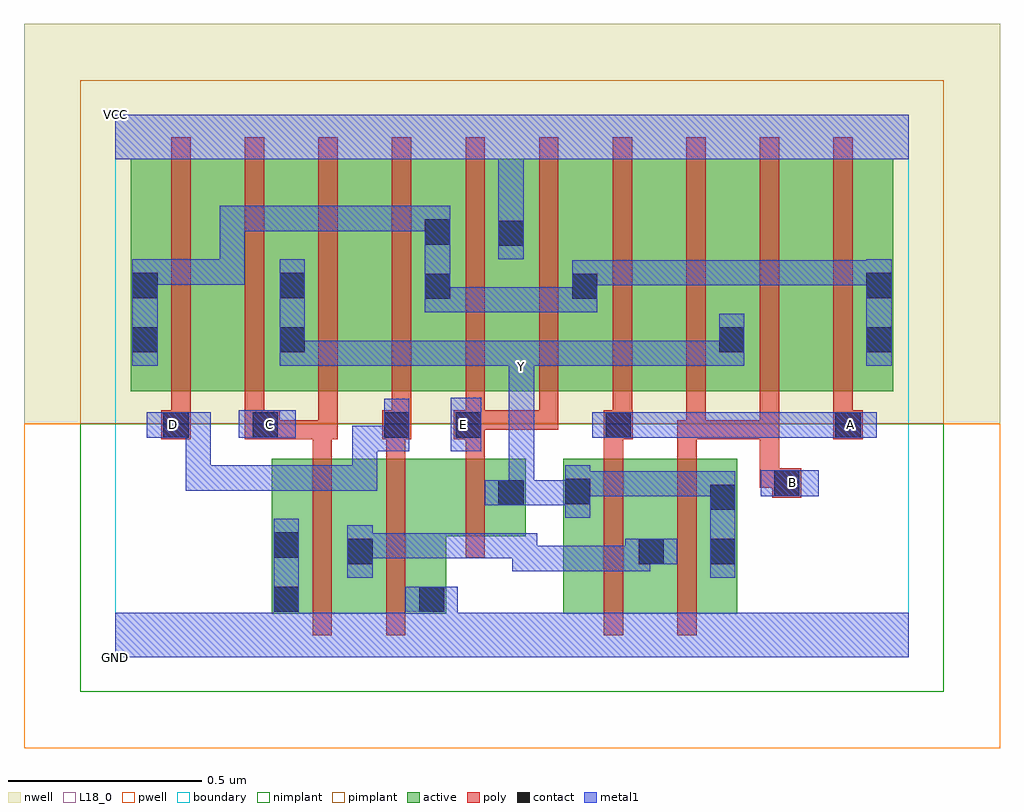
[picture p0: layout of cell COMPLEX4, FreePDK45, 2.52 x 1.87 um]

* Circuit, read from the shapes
.subckt COMPLEX4 A B C D E GND VCC Y
M1 n1 C GND VSUBS nfet w=0.4u l=0.05u
M2 GND D n1 VSUBS nfet w=0.4u l=0.05u
M3 Y E GND VSUBS nfet w=0.2u l=0.05u
M4 n1 A Y VSUBS nfet w=0.4u l=0.05u
M5 Y B n1 VSUBS nfet w=0.4u l=0.05u
M6 n2 D n3 n4 pfet w=0.6u l=0.05u
M7 Y C n2 n4 pfet w=0.6u l=0.05u
M8 n5 C Y n4 pfet w=0.6u l=0.05u
M9 n3 D n5 n4 pfet w=0.6u l=0.05u
M10 VCC E n3 n4 pfet w=0.6u l=0.05u m=2
M11 n6 A n3 n4 pfet w=0.6u l=0.05u
M12 Y B n6 n4 pfet w=0.6u l=0.05u
M13 n7 B Y n4 pfet w=0.6u l=0.05u
M14 n3 A n7 n4 pfet w=0.6u l=0.05u
.ends

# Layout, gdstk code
import gdstk
lib = gdstk.Library(unit=1e-6, precision=1e-09)
def R(c, l, rs):  # rectangles x0, y0, x1, y1
    for r in rs: c.add(gdstk.rectangle(r[:2], r[2:], *l))
def A(c, l, x, y, w, h, nx, ny, dx, dy):  # array of equal rectangles
    R(c, l, [(x+i*dx, y+j*dy, x+i*dx+w, y+j*dy+h) for i in range(nx) for j in range(ny)])
active = (1, 0)
pwell = (2, 0)
nwell = (3, 0)
nimplant = (4, 0)
pimplant = (5, 0)
poly = (9, 0)
contact = (10, 0)
metal1 = (11, 0)
L18_0 = (18, 0)
boundary = (235, 0)

complex4 = lib.new_cell('COMPLEX4')
R(complex4, active, [(0.405,0.112,0.67,0.512), (0.405,0.112,0.48,0.512), (0.595,0.112,0.855,0.512), (0.78,0.112,0.855,0.405), (1.157,0.112,1.422,0.512), (1.347,0.112,1.607,0.512), (0.595,0.147,0.67,0.492), (1.157,0.147,1.232,0.512), (1.347,0.147,1.422,0.492), (1.532,0.147,1.607,0.512), (0.78,0.312,1.06,0.512), (0.985,0.332,1.06,0.512), (0.04,0.687,0.265,1.287), (0.04,0.687,0.145,1.2), (0.265,0.687,0.495,1.287), (0.42,0.687,0.645,1.287), (0.42,0.687,0.495,1.07), (0.645,0.687,0.87,1.287), (0.795,0.687,1.06,1.287), (0.985,0.687,1.25,1.287), (1.175,0.687,1.405,1.287), (1.405,0.687,1.63,1.287), (1.555,0.687,1.785,1.287), (1.555,0.687,1.63,1.07), (1.785,0.687,2.01,1.287), (1.935,0.687,2.01,1.2), (0.795,0.707,0.87,1.2), (0.985,0.707,1.06,1.287), (1.175,0.707,1.25,1.2)])
R(complex4, pwell, [(-0.235,-0.235,2.285,0.602)])
R(complex4, nwell, [(-0.235,0.602,2.285,1.635)])
R(complex4, nimplant, [(-0.09,-0.09,2.14,0.602)])
R(complex4, pimplant, [(-0.09,0.602,2.14,1.49)])
A(complex4, poly, 0.715, 0.587, 0.05, 0.095, 4, 1, 0.19, 0)
A(complex4, poly, 0.145, 0.632, 0.05, 0.71, 10, 1, 0.19, 0)
R(complex4, poly, [(0.51,0.057,0.56,0.567), (0.7,0.057,0.75,0.567), (1.262,0.057,1.312,0.567), (1.452,0.057,1.502,0.567), (0.905,0.257,0.955,0.567), (1.697,0.412,1.772,0.487), (1.665,0.437,1.715,0.612), (1.665,0.437,1.747,0.487), (1.697,0.437,1.747,0.487), (0.51,0.517,0.56,0.612), (0.7,0.517,0.75,0.612), (0.905,0.517,0.955,0.612), (1.262,0.517,1.312,0.612), (1.452,0.517,1.502,0.612), (0.12,0.562,0.195,0.637), (0.335,0.562,0.425,0.637), (0.375,0.562,0.56,0.612), (0.51,0.562,0.56,0.612), (0.51,0.562,0.56,0.612), (0.51,0.562,0.575,0.612), (0.525,0.562,0.575,0.682), (0.69,0.562,0.765,0.637), (0.875,0.562,0.955,0.637), (1.262,0.562,1.337,0.637), (1.452,0.562,1.525,0.612), (1.475,0.562,1.525,0.682), (1.475,0.562,1.715,0.612), (1.665,0.562,1.715,0.682), (1.665,0.562,1.715,0.612), (1.665,0.562,1.715,0.612), (1.665,0.562,1.715,0.612), (1.855,0.562,1.93,0.637), (0.145,0.587,0.195,0.682), (0.335,0.587,0.385,0.682), (0.905,0.587,1.145,0.637), (1.095,0.587,1.145,0.637), (1.095,0.587,1.145,0.637), (1.095,0.587,1.145,0.637), (1.855,0.587,1.905,0.682)])
R(complex4, contact, [(0.41,0.117,0.475,0.182), (0.785,0.117,0.85,0.182), (0.6,0.24,0.665,0.305), (1.352,0.24,1.417,0.305), (1.537,0.24,1.602,0.305), (0.41,0.257,0.475,0.322), (1.537,0.38,1.602,0.445), (0.99,0.392,1.055,0.457), (1.162,0.395,1.227,0.46), (1.702,0.417,1.767,0.482), (0.125,0.567,0.19,0.632), (0.355,0.567,0.42,0.632), (0.695,0.567,0.76,0.632), (0.88,0.567,0.945,0.632), (1.267,0.567,1.332,0.632), (1.86,0.567,1.925,0.632), (0.045,0.787,0.11,0.852), (0.425,0.787,0.49,0.852), (1.56,0.787,1.625,0.852), (1.94,0.787,2.005,0.852), (0.8,0.925,0.865,0.99), (1.18,0.925,1.245,0.99), (0.045,0.927,0.11,0.992), (0.425,0.927,0.49,0.992), (1.94,0.927,2.005,0.992), (0.99,1.062,1.055,1.127), (0.8,1.065,0.865,1.13)])
R(complex4, metal1, [(0,0,2.05,0.115), (0.41,0.05,0.475,0.147), (0.82,0.05,0.885,0.182), (0.41,0.082,0.475,0.357), (0.75,0.117,0.885,0.182), (0.6,0.205,0.665,0.34), (1.537,0.205,1.602,0.48), (1.025,0.222,1.09,0.287), (1.025,0.222,1.09,0.287), (1.025,0.222,1.227,0.287), (1.025,0.222,1.09,0.32), (1.162,0.222,1.227,0.287), (1.162,0.222,1.382,0.287), (1.317,0.222,1.382,0.305), (1.317,0.24,1.382,0.305), (1.317,0.24,1.452,0.305), (0.6,0.255,0.665,0.32), (0.6,0.255,0.665,0.32), (0.6,0.255,0.815,0.32), (0.75,0.255,0.815,0.32), (0.75,0.255,0.897,0.32), (0.832,0.255,0.897,0.32), (0.832,0.255,1.09,0.32), (1.162,0.36,1.227,0.495), (0.955,0.392,1.09,0.457), (1.017,0.392,1.082,0.747), (1.025,0.392,1.09,0.457), (1.025,0.392,1.09,0.457), (1.025,0.392,1.227,0.457), (1.162,0.415,1.227,0.48), (1.162,0.415,1.227,0.48), (1.162,0.415,1.382,0.48), (1.317,0.415,1.382,0.48), (1.317,0.415,1.592,0.48), (1.527,0.415,1.592,0.48), (1.527,0.415,1.602,0.48), (1.667,0.415,1.817,0.482), (0.182,0.43,0.247,0.495), (0.182,0.43,0.362,0.495), (0.182,0.43,0.247,0.632), (0.297,0.43,0.5,0.495), (0.297,0.43,0.362,0.495), (0.435,0.43,0.5,0.495), (0.435,0.43,0.5,0.495), (0.435,0.43,0.5,0.495), (0.435,0.43,0.677,0.495), (0.612,0.43,0.677,0.495), (0.612,0.43,0.677,0.597), (0.612,0.532,0.677,0.597), (0.612,0.532,0.76,0.597), (0.695,0.532,0.76,0.667), (0.867,0.532,0.945,0.67), (0.082,0.567,0.225,0.632), (0.16,0.567,0.247,0.632), (0.182,0.567,0.247,0.632), (0.32,0.567,0.467,0.637), (1.232,0.567,1.367,0.632), (1.302,0.567,1.455,0.632), (1.39,0.567,1.455,0.632), (1.39,0.567,1.592,0.632), (1.527,0.567,1.73,0.632), (1.527,0.567,1.592,0.632), (1.527,0.567,1.592,0.632), (1.527,0.567,1.592,0.632), (1.665,0.567,1.73,0.632), (1.665,0.567,1.73,0.632), (1.665,0.567,1.73,0.632), (1.665,0.567,1.89,0.632), (1.825,0.567,1.967,0.632), (1.017,0.682,1.082,0.817), (0.045,0.752,0.11,1.027), (0.425,0.752,0.49,1.027), (0.425,0.752,0.5,0.817), (0.435,0.752,0.5,0.817), (0.435,0.752,0.677,0.817), (0.612,0.752,0.815,0.817), (0.612,0.752,0.677,0.817), (0.612,0.752,0.677,0.817), (0.612,0.752,0.677,0.817), (0.75,0.752,0.815,0.817), (0.75,0.752,0.815,0.817), (0.75,0.752,0.815,0.817), (0.75,0.752,1.082,0.817), (1.017,0.752,1.082,0.817), (1.017,0.752,1.082,0.817), (1.017,0.752,1.082,0.817), (1.017,0.752,1.082,0.817), (1.017,0.752,1.245,0.817), (1.18,0.752,1.245,0.817), (1.18,0.752,1.382,0.817), (1.317,0.752,1.52,0.817), (1.317,0.752,1.382,0.817), (1.317,0.752,1.382,0.817), (1.317,0.752,1.382,0.817), (1.455,0.752,1.52,0.817), (1.455,0.752,1.625,0.817), (1.56,0.752,1.625,0.887), (1.94,0.752,2.005,1.027), (0.8,0.89,0.865,1.165), (0.8,0.89,0.865,0.955), (0.8,0.89,0.865,0.955), (0.8,0.89,1.09,0.955), (1.025,0.89,1.09,0.955), (1.025,0.89,1.09,0.955), (1.025,0.89,1.09,0.955), (1.025,0.89,1.245,0.955), (1.18,0.89,1.245,1.025), (1.18,0.96,1.245,1.025), (1.18,0.96,1.245,1.025), (1.18,0.96,1.455,1.025), (1.39,0.96,1.455,1.025), (1.39,0.96,1.592,1.025), (1.527,0.96,1.73,1.025), (1.527,0.96,1.592,1.025), (1.527,0.96,1.592,1.025), (1.527,0.96,1.592,1.025), (1.665,0.96,1.73,1.025), (1.665,0.96,1.867,1.025), (1.802,0.96,2.005,1.025), (1.802,0.96,1.867,1.025), (1.802,0.96,1.867,1.025), (1.802,0.96,1.867,1.025), (1.802,0.96,1.867,1.025), (1.802,0.96,1.867,1.025), (0.045,0.962,0.11,1.027), (0.045,0.962,0.11,1.027), (0.045,0.962,0.335,1.027), (0.27,0.962,0.335,1.027), (0.27,0.962,0.335,1.165), (0.99,1.027,1.055,1.162), (0.99,1.097,1.055,1.35), (0.27,1.1,0.335,1.165), (0.27,1.1,0.362,1.165), (0.297,1.1,0.5,1.165), (0.297,1.1,0.362,1.165), (0.435,1.1,0.5,1.165), (0.435,1.1,0.5,1.165), (0.435,1.1,0.5,1.165), (0.435,1.1,0.637,1.165), (0.572,1.1,0.637,1.165), (0.572,1.1,0.637,1.165), (0.572,1.1,0.637,1.165), (0.572,1.1,0.865,1.165), (0,1.285,2.05,1.4)])
R(complex4, L18_0, [(0,0,2.05,0.115), (0.41,0.05,0.475,0.147), (0.82,0.05,0.885,0.182), (0.41,0.082,0.475,0.357), (0.75,0.117,0.885,0.182), (1.537,0.205,1.602,0.48), (1.162,0.36,1.227,0.495), (0.955,0.392,1.09,0.457), (1.017,0.392,1.082,0.747), (1.025,0.392,1.09,0.457), (1.025,0.392,1.09,0.457), (1.025,0.392,1.227,0.457), (1.162,0.415,1.227,0.48), (1.162,0.415,1.227,0.48), (1.162,0.415,1.382,0.48), (1.317,0.415,1.382,0.48), (1.317,0.415,1.592,0.48), (1.527,0.415,1.592,0.48), (1.527,0.415,1.602,0.48), (1.667,0.415,1.817,0.482), (1.717,0.417,1.782,0.482), (0.182,0.43,0.247,0.495), (0.182,0.43,0.247,0.632), (0.182,0.43,0.362,0.495), (0.297,0.43,0.362,0.495), (0.297,0.43,0.5,0.495), (0.435,0.43,0.5,0.495), (0.435,0.43,0.5,0.495), (0.435,0.43,0.5,0.495), (0.435,0.43,0.677,0.495), (0.612,0.43,0.677,0.495), (0.612,0.43,0.677,0.597), (0.612,0.532,0.677,0.597), (0.612,0.532,0.76,0.597), (0.695,0.532,0.76,0.667), (0.867,0.532,0.945,0.67), (0.082,0.567,0.225,0.632), (0.117,0.567,0.182,0.632), (0.16,0.567,0.247,0.632), (0.182,0.567,0.247,0.632), (0.32,0.567,0.467,0.637), (0.367,0.567,0.432,0.632), (0.867,0.567,0.932,0.632), (1.232,0.567,1.367,0.632), (1.302,0.567,1.455,0.632), (1.39,0.567,1.455,0.632), (1.39,0.567,1.592,0.632), (1.527,0.567,1.592,0.632), (1.527,0.567,1.592,0.632), (1.527,0.567,1.592,0.632), (1.527,0.567,1.73,0.632), (1.665,0.567,1.73,0.632), (1.665,0.567,1.73,0.632), (1.665,0.567,1.73,0.632), (1.665,0.567,1.89,0.632), (1.825,0.567,1.967,0.632), (1.867,0.567,1.932,0.632), (1.017,0.682,1.082,0.817), (1.017,0.717,1.082,0.782), (0.425,0.752,0.49,1.027), (0.425,0.752,0.5,0.817), (0.435,0.752,0.5,0.817), (0.435,0.752,0.677,0.817), (0.612,0.752,0.677,0.817), (0.612,0.752,0.677,0.817), (0.612,0.752,0.677,0.817), (0.612,0.752,0.815,0.817), (0.75,0.752,0.815,0.817), (0.75,0.752,0.815,0.817), (0.75,0.752,0.815,0.817), (0.75,0.752,1.082,0.817), (1.017,0.752,1.082,0.817), (1.017,0.752,1.082,0.817), (1.017,0.752,1.082,0.817), (1.017,0.752,1.082,0.817), (1.017,0.752,1.245,0.817), (1.18,0.752,1.245,0.817), (1.18,0.752,1.382,0.817), (1.317,0.752,1.382,0.817), (1.317,0.752,1.382,0.817), (1.317,0.752,1.382,0.817), (1.317,0.752,1.52,0.817), (1.455,0.752,1.52,0.817), (1.455,0.752,1.625,0.817), (1.56,0.752,1.625,0.887), (0.99,1.027,1.055,1.162), (0.99,1.097,1.055,1.35), (0,1.285,2.05,1.4)])
R(complex4, boundary, [(0,0,2.05,1.4)])
complex4.add(gdstk.Label('A', (1.9,0.6), layer=11, texttype=0))
complex4.add(gdstk.Label('B', (1.75,0.45), layer=11, texttype=0))
complex4.add(gdstk.Label('C', (0.4,0.6), layer=11, texttype=0))
complex4.add(gdstk.Label('D', (0.15,0.6), layer=11, texttype=0))
complex4.add(gdstk.Label('E', (0.9,0.6), layer=11, texttype=0))
complex4.add(gdstk.Label('Y', (1.05,0.75), layer=11, texttype=0))
complex4.add(gdstk.Label('VCC', (0,1.4), layer=11, texttype=0))
complex4.add(gdstk.Label('GND', (0,0), layer=11, texttype=0))

lib.write_gds('COMPLEX4.gds')
